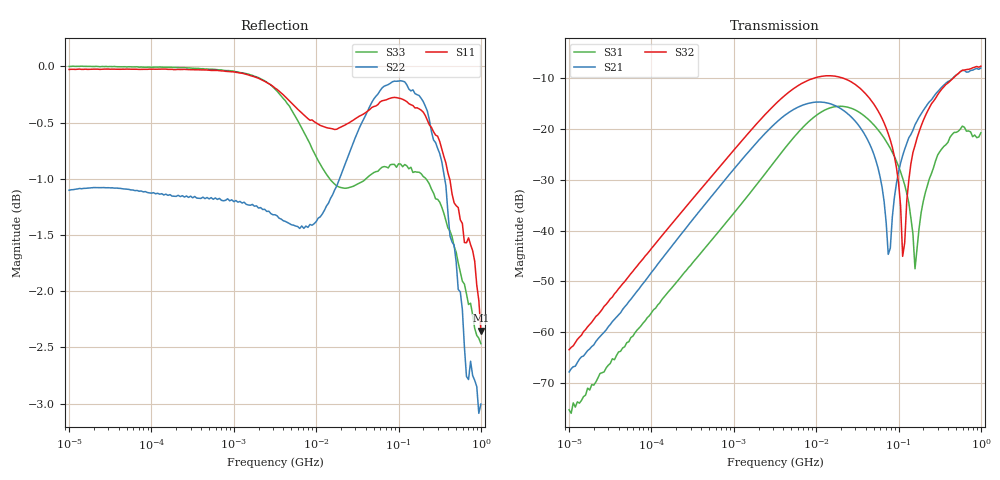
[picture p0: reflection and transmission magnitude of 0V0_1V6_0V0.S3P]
!Keysight Technologies,E5080A,MY55100144,A.11.70.03
!Date: Monday, November 13, 2017 17:24:16
!Correction: S11(Full 3 Port(1,2,3))
!S12(Full 3 Port(1,2,3))
!S13(Full 3 Port(1,2,3))
!S21(Full 3 Port(1,2,3))
!S22(Full 3 Port(1,2,3))
!S23(Full 3 Port(1,2,3))
!S31(Full 3 Port(1,2,3))
!S32(Full 3 Port(1,2,3))
!S33(Full 3 Port(1,2,3))
!S3P File: Measurements: <S11,S12,S13>,
!<S21,S22,S23>,
!<S31,S32,S33>:Log Frequency Sweep
# Hz S  RI  R 50
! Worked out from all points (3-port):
!   201 points, 10 kHz to 1 GHz, reference 50 ohm
!   strongest paths, dB at 10 kHz, 177.8 kHz, 3.162 MHz, 56.23 MHz, 1 GHz:
!     S32: -63.5, -38.6, -15.2, -16.4, -7.7
!     S21: -67.8, -43.0, -19.0, -27.6, -8.0
!     S31: -75.3, -51.2, -26.3, -20.2, -20.8
!   lowest |S11| = -2.4 dB at 1 GHz (marker M1), VSWR 7.44, Z = 372 + j8.59 ohm
!   |S11| at or under -10 dB: nowhere
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10000  0.9968 -0.00233  -4.06e-05 0.000446  -1.76e-05 0.000185
       5.12e-05 0.000402  0.8807 -0.0187  -0.000101 0.000595
       1.52e-05 0.000171  -6.36e-05 0.000669  0.9999 -0.0024
3162278  0.7647 -0.6096  0.0848 0.0988  0.0108 0.0488
         0.0757 0.0834  0.5278 -0.6777  0.0869 0.1428
         0.0131 0.0466  0.0935 0.1469  0.9364 -0.2781
2.238721e7  -0.6647 -0.667  0.1179 -0.0919  0.1653 -0.0303
            0.1151 -0.0934  -0.7746 -0.467  0.2864 -0.1194
            0.1624 -0.0318  0.2863 -0.1205  0.0915 -0.8779
5.308844e7  -0.9358 -0.2153  0.0184 -0.0452  0.0557 -0.0878
            0.0182 -0.0454  -0.968 -0.0586  0.0724 -0.1464
            0.0555 -0.0877  0.0724 -0.1463  -0.6289 -0.6407
7.498942e7  -0.9661 -0.0449  0.0051 -0.00281  0.0204 -0.0668
            0.00505 -0.00291  -0.9734 0.1257  0.0189 -0.0878
            0.0203 -0.0668  0.019 -0.0876  -0.7984 -0.4181
8.413951e7  -0.9684 0.0107  0.00509 0.0129  0.0126 -0.0575
            0.00499 0.0127  -0.9659 0.1896  0.00896 -0.0652
            0.0124 -0.0575  0.00894 -0.0652  -0.8387 -0.3388
1.122018e8  -0.9543 0.1551  0.0159 0.0521  0.0019 -0.0327
            0.0159 0.0522  -0.9167 0.3604  0.00157 -0.00537
            0.00191 -0.0327  0.00162 -0.00533  -0.892 -0.1358
1.584893e8  -0.8945 0.3437  0.051 0.0969  0.00328 -0.00283
            0.0509 0.097  -0.787 0.5712  0.0299 0.0618
            0.00321 -0.00271  0.0299 0.0617  -0.8913 0.1074
3.758374e8  -0.3924 0.8164  0.2781 0.0429  0.0697 -0.00594
            0.2783 0.0429  0.0737 0.8819  0.2663 0.0617
            0.0696 -0.00594  0.2661 0.0616  -0.5057 0.6879
1e9  0.7629 0.00483  -0.0951 -0.3852  -0.0564 -0.0731
     -0.0955 -0.3856  0.5911 -0.389  -0.0451 -0.4113
     -0.0563 -0.0721  -0.0448 -0.4116  0.6861 0.3097
